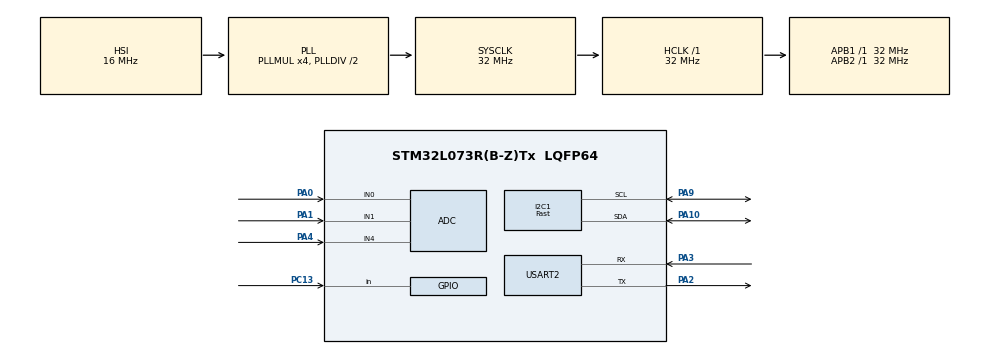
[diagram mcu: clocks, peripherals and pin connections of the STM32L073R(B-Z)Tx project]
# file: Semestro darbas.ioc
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ADC.ContinuousConvMode=ENABLE
ADC.DMAContinuousRequests=DISABLE
ADC.SamplingTime=ADC_SAMPLETIME_1CYCLE_5
Dma.ADC.0.Direction=DMA_PERIPH_TO_MEMORY
Dma.ADC.0.Instance=DMA1_Channel1
Dma.ADC.0.MemDataAlignment=DMA_MDATAALIGN_HALFWORD
Dma.ADC.0.MemInc=DMA_MINC_ENABLE
Dma.ADC.0.Mode=DMA_CIRCULAR
Dma.ADC.0.PeriphDataAlignment=DMA_PDATAALIGN_HALFWORD
Dma.ADC.0.PeriphInc=DMA_PINC_DISABLE
Dma.ADC.0.Priority=DMA_PRIORITY_LOW
Dma.Request0=ADC
I2C1.I2C_Speed_Mode=I2C_Fast
I2C1.Timing=0x00300F38
Mcu.Family=STM32L0
Mcu.Name=STM32L073R(B-Z)Tx
Mcu.Package=LQFP64
NVIC.ADC1_COMP_IRQn=true\:1\:0\:true\:false\:true\:true\:true\:true
NVIC.DMA1_Channel1_IRQn=true\:0\:0\:false\:false\:true\:false\:true\:true
NVIC.TIM6_DAC_IRQn=true\:0\:0\:false\:false\:true\:true\:true\:true
PA0.Mode=IN0
PA0.Signal=ADC_IN0
PA1.Mode=IN1
PA1.Signal=ADC_IN1
PA10.Mode=I2C
PA10.Signal=I2C1_SDA
PA2.Mode=Asynchronous
PA2.Signal=USART2_TX
PA3.Mode=Asynchronous
PA3.Signal=USART2_RX
PA4.Mode=IN4
PA4.Signal=ADC_IN4
PA9.Mode=I2C
PA9.Signal=I2C1_SCL
PC13.Signal=GPIO_Input
ProjectManager.HeapSize=0x200
ProjectManager.StackSize=0x400
ProjectManager.TargetToolchain=STM32CubeIDE
RCC.AHBFreq_Value=32000000
RCC.APB1Freq_Value=32000000
RCC.APB1TimFreq_Value=32000000
RCC.APB2Freq_Value=32000000
RCC.APB2TimFreq_Value=32000000
RCC.HCLKFreq_Value=32000000
RCC.HSE_VALUE=8000000
RCC.HSI16_VALUE=16000000
RCC.HSI48_VALUE=48000000
RCC.HSI_VALUE=16000000
RCC.LSE_VALUE=32768
RCC.MSI_VALUE=2097000
RCC.PLLMUL=RCC_PLLMUL_4
RCC.SYSCLKFreq_VALUE=32000000
RCC.SYSCLKSource=RCC_SYSCLKSOURCE_PLLCLK
RCC.VCOOutputFreq_Value=64000000
TIM6.Period=160
TIM6.Prescaler=40000
USART2.VirtualMode-Asynchronous=VM_ASYNC
VP_TIM6_VS_ClockSourceINT.Mode=Enable_Timer
board=custom

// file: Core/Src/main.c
/* USER CODE BEGIN Header */
/**
  ******************************************************************************
  * @file           : main.c
  * @brief          : Main program body
  ******************************************************************************
  * @attention
  *
  * Copyright (c) 2024 STMicroelectronics.
  * All rights reserved.
  *
  * This software is licensed under terms that can be found in the LICENSE file
  * in the root directory of this software component.
  * If no LICENSE file comes with this software, it is provided AS-IS.
  *
  ******************************************************************************
  */
/* USER CODE END Header */
#include "main.h"

/* USER CODE BEGIN Includes */
#include <stdio.h>
#include <string.h>
#include <math.h>
#include "fonts.h"
#include "ssd1306.h"
#include "stm32l0xx_hal.h"
/* USER CODE END Includes */

/* USER CODE BEGIN PTD */
#define BUTTON GPIO_PIN_13
#define BUTTON_GPIO_Port GPIOC

/* USER CODE END PTD */

ADC_HandleTypeDef hadc;
DMA_HandleTypeDef hdma_adc;

I2C_HandleTypeDef hi2c1;

TIM_HandleTypeDef htim6;

UART_HandleTypeDef huart2;

/* USER CODE BEGIN PV */
//#define Samples 100
int Samples = 10;

volatile uint8_t uart_data_ready = 0;

uint16_t adc_values[3]; //Dvieju LDR ADC vertės ir Mikrafono ADC
float lux1, lux2; 		// Kiekvieno kanalo ver ?ių kintamieji
float min_lux = 100000; // Initialize with maximum float value
float max_lux = -100000; // Initialize with minimum float value
float vid = 0.0; 		// Initialize range variable
float RMS; 				// Mikrofono signalas
char msg[100];			// Kompiuteriui isvedama žinutė
float dB;

uint32_t lux_reset_time = 0; // Timer to reset min/max values periodically
uint32_t lux_reset_interval = 120; // Reset interval in milliseconds

uint32_t up_time2 = 0; // Kintamasis OLED LUX atnaujimui 2s
uint32_t up_time1 = 0;  // Kintamasis OLED RMS atnaujinimui 1s

uint8_t flag1,flag2; //flags oled display update time
uint8_t display_mode = 0; // atvaizduoti LUX ir RMS paspaudus mygtuka
uint32_t last_button_press_time = 0; // Variable to track the time of the last button press

float convertToLux(uint16_t adc_value); //Konvertuoti 0-1 kanalo ADC vertę foto varzai 1
float convertRMS(uint16_t adc_value, int Sample); // Kovertuoti 2 kanalo ADC mikrafono verte i RMS

/* USER CODE END PV */

void SystemClock_Config(void);
static void MX_GPIO_Init(void);
static void MX_DMA_Init(void);
static void MX_ADC_Init(void);
static void MX_USART2_UART_Init(void);
static void MX_I2C1_Init(void);
static void MX_TIM6_Init(void);

int main(void)
{

  /* MCU Configuration--------------------------------------------------------*/

  /* Reset of all peripherals, Initializes the Flash interface and the Systick. */
  HAL_Init();

  /* Configure the system clock */
  SystemClock_Config();

  /* Initialize all configured peripherals */
  MX_GPIO_Init();
  MX_DMA_Init();
  MX_ADC_Init();
  MX_USART2_UART_Init();
  MX_I2C1_Init();
  MX_TIM6_Init();
  /* USER CODE BEGIN 2 */

  // Start timer with interrupt
  HAL_TIM_Base_Start_IT(&htim6);

  // OLED initialization
  SSD1306_Init();
  // Clear OLED
  SSD1306_Fill(SSD1306_COLOR_BLACK);

  // Display some text on the screen
  //SSD1306_GotoXY(0,20);
  //SSD1306_Puts("Hello, OLED!", &Font_11x18, SSD1306_COLOR_WHITE);
  //SSD1306_UpdateScreen();

  /* USER CODE END 2 */

  /* Infinite loop */
  /* USER CODE BEGIN WHILE */
  while (1)
  {
	  // Start ADC nuskaitymus
	  HAL_ADC_Start_DMA(&hadc, (uint32_t *)adc_values, 3);

      // ADC verciu konvertavimas
      lux1 = convertToLux(adc_values[0]);
      lux2 = convertToLux(adc_values[1]);
      RMS = convertRMS(adc_values[2], Samples);

      // Reset minimum and maximum lux values periodically
       if (HAL_GetTick() - lux_reset_time >= lux_reset_interval) {
           min_lux = 100000;
           max_lux = -100000;
           lux_reset_time = HAL_GetTick();
       }

      if (lux1 < min_lux)
          min_lux = lux1;
      else if (lux1 <= 1)
    	  min_lux = 1;

      if (lux1 > max_lux)
          max_lux = lux1;
      else if (lux1 > 5)
    	  max_lux = 5;

      if (lux2 < min_lux)
          min_lux = lux2;
      else if (lux2 <= 1)
    	  min_lux = 1;

      if (lux2 > max_lux)
          max_lux = lux2;
      else if (lux2 > 5)
          max_lux = 5;

          // Vidurkis
          vid = (lux1+lux2)/2;

	  // UART siuntimas i kompiuteri
      if (uart_data_ready)
          {
              sprintf(msg, "LDR ADC: %d, %d | Lux: %.2f, %.2f |MIN: %.2f, MAX: %.2f, Vidurkis: %.2f |\r\n"
            		  "MIC ADC: %d | RMS: %.2f\r\n",adc_values[0], adc_values[1],lux1,lux2,min_lux,max_lux,vid,adc_values[2],RMS);
    	  	  //sprintf(msg, "Oras ADC: %d | PPM: %.0f \r\nDregme ADC: %d | Dregme %: %.0f \r\n", adc_values[0], oras, adc_values[1], dregme);
              // UART transmission
              HAL_UART_Transmit(&huart2, (uint8_t *)msg, strlen(msg), HAL_MAX_DELAY);

              flag1++;
              flag2++;
              uart_data_ready = 0; // Reset flag

          }

      if (flag1>=4)
      	flag1=0;
      if (flag2>=8)
      	flag2=0;

	    // Mygtuko paspaudimas
	    ToggleDisplay();
	    //OLED LUX ir RMS su mygtuku
	    DisplayOLED();

	    //OLED
	   /* if (HAL_GetTick() - lux_update_time >= 2000)
	        {
	          lux_update_time = HAL_GetTick();

	          // Clear the OLED screen
	          SSD1306_Fill(SSD1306_COLOR_BLACK);

	          // Display LUX1 and LUX2 values on the OLED screen
	          char lux1_str[20];
	          char lux2_str[20];
	          snprintf(lux1_str, sizeof(lux1_str), "%.2f", lux1);
	          snprintf(lux2_str, sizeof(lux2_str), "%.2f", lux2);

	          // Display LUX1 and LUX2 values on the OLED screen
	          SSD1306_GotoXY(0, 0);
	          SSD1306_Puts("LUX1: ", &Font_11x18, SSD1306_COLOR_WHITE);
	          SSD1306_Puts(lux1_str, &Font_11x18, SSD1306_COLOR_WHITE);
	          SSD1306_GotoXY(0, 20);
	          SSD1306_Puts("LUX2: ", &Font_11x18, SSD1306_COLOR_WHITE);
	          SSD1306_Puts(lux2_str, &Font_11x18, SSD1306_COLOR_WHITE);

	          // Update the OLED screen
	          SSD1306_UpdateScreen();
	        }*/

    /* USER CODE END WHILE */

  }
}

void SystemClock_Config(void)
{
  RCC_OscInitTypeDef RCC_OscInitStruct = {0};
  RCC_ClkInitTypeDef RCC_ClkInitStruct = {0};
  RCC_PeriphCLKInitTypeDef PeriphClkInit = {0};

  /** Configure the main internal regulator output voltage
  */
  __HAL_PWR_VOLTAGESCALING_CONFIG(PWR_REGULATOR_VOLTAGE_SCALE1);

  /** Initializes the RCC Oscillators according to the specified parameters
  * in the RCC_OscInitTypeDef structure.
  */
  RCC_OscInitStruct.OscillatorType = RCC_OSCILLATORTYPE_HSI;
  RCC_OscInitStruct.HSIState = RCC_HSI_ON;
  RCC_OscInitStruct.HSICalibrationValue = RCC_HSICALIBRATION_DEFAULT;
  RCC_OscInitStruct.PLL.PLLState = RCC_PLL_ON;
  RCC_OscInitStruct.PLL.PLLSource = RCC_PLLSOURCE_HSI;
  RCC_OscInitStruct.PLL.PLLMUL = RCC_PLLMUL_4;
  RCC_OscInitStruct.PLL.PLLDIV = RCC_PLLDIV_2;
  if (HAL_RCC_OscConfig(&RCC_OscInitStruct) != HAL_OK)
  {
    Error_Handler();
  }

  /** Initializes the CPU, AHB and APB buses clocks
  */
  RCC_ClkInitStruct.ClockType = RCC_CLOCKTYPE_HCLK|RCC_CLOCKTYPE_SYSCLK
                              |RCC_CLOCKTYPE_PCLK1|RCC_CLOCKTYPE_PCLK2;
  RCC_ClkInitStruct.SYSCLKSource = RCC_SYSCLKSOURCE_PLLCLK;
  RCC_ClkInitStruct.AHBCLKDivider = RCC_SYSCLK_DIV1;
  RCC_ClkInitStruct.APB1CLKDivider = RCC_HCLK_DIV1;
  RCC_ClkInitStruct.APB2CLKDivider = RCC_HCLK_DIV1;

  if (HAL_RCC_ClockConfig(&RCC_ClkInitStruct, FLASH_LATENCY_1) != HAL_OK)
  {
    Error_Handler();
  }
  PeriphClkInit.PeriphClockSelection = RCC_PERIPHCLK_USART2|RCC_PERIPHCLK_I2C1;
  PeriphClkInit.Usart2ClockSelection = RCC_USART2CLKSOURCE_PCLK1;
  PeriphClkInit.I2c1ClockSelection = RCC_I2C1CLKSOURCE_PCLK1;
  if (HAL_RCCEx_PeriphCLKConfig(&PeriphClkInit) != HAL_OK)
  {
    Error_Handler();
  }
}

static void MX_ADC_Init(void)
{

  ADC_ChannelConfTypeDef sConfig = {0};

  /** Configure the global features of the ADC (Clock, Resolution, Data Alignment and number of conversion)
  */
  hadc.Instance = ADC1;
  hadc.Init.OversamplingMode = DISABLE;
  hadc.Init.ClockPrescaler = ADC_CLOCK_SYNC_PCLK_DIV2;
  hadc.Init.Resolution = ADC_RESOLUTION_12B;
  hadc.Init.SamplingTime = ADC_SAMPLETIME_1CYCLE_5;
  hadc.Init.ScanConvMode = ADC_SCAN_DIRECTION_FORWARD;
  hadc.Init.DataAlign = ADC_DATAALIGN_RIGHT;
  hadc.Init.ContinuousConvMode = ENABLE;
  hadc.Init.DiscontinuousConvMode = DISABLE;
  hadc.Init.ExternalTrigConvEdge = ADC_EXTERNALTRIGCONVEDGE_NONE;
  hadc.Init.ExternalTrigConv = ADC_SOFTWARE_START;
  hadc.Init.DMAContinuousRequests = DISABLE;
  hadc.Init.EOCSelection = ADC_EOC_SINGLE_CONV;
  hadc.Init.Overrun = ADC_OVR_DATA_PRESERVED;
  hadc.Init.LowPowerAutoWait = DISABLE;
  hadc.Init.LowPowerFrequencyMode = DISABLE;
  hadc.Init.LowPowerAutoPowerOff = DISABLE;
  if (HAL_ADC_Init(&hadc) != HAL_OK)
  {
    Error_Handler();
  }

  /** Configure for the selected ADC regular channel to be converted.
  */
  sConfig.Channel = ADC_CHANNEL_0;
  sConfig.Rank = ADC_RANK_CHANNEL_NUMBER;
  if (HAL_ADC_ConfigChannel(&hadc, &sConfig) != HAL_OK)
  {
    Error_Handler();
  }

  /** Configure for the selected ADC regular channel to be converted.
  */
  sConfig.Channel = ADC_CHANNEL_1;
  if (HAL_ADC_ConfigChannel(&hadc, &sConfig) != HAL_OK)
  {
    Error_Handler();
  }

  /** Configure for the selected ADC regular channel to be converted.
  */
  sConfig.Channel = ADC_CHANNEL_4;
  if (HAL_ADC_ConfigChannel(&hadc, &sConfig) != HAL_OK)
  {
    Error_Handler();
  }

}

static void MX_I2C1_Init(void)
{

  hi2c1.Instance = I2C1;
  hi2c1.Init.Timing = 0x00300F38;
  hi2c1.Init.OwnAddress1 = 0;
  hi2c1.Init.AddressingMode = I2C_ADDRESSINGMODE_7BIT;
  hi2c1.Init.DualAddressMode = I2C_DUALADDRESS_DISABLE;
  hi2c1.Init.OwnAddress2 = 0;
  hi2c1.Init.OwnAddress2Masks = I2C_OA2_NOMASK;
  hi2c1.Init.GeneralCallMode = I2C_GENERALCALL_DISABLE;
  hi2c1.Init.NoStretchMode = I2C_NOSTRETCH_DISABLE;
  if (HAL_I2C_Init(&hi2c1) != HAL_OK)
  {
    Error_Handler();
  }

  /** Configure Analogue filter
  */
  if (HAL_I2CEx_ConfigAnalogFilter(&hi2c1, I2C_ANALOGFILTER_ENABLE) != HAL_OK)
  {
    Error_Handler();
  }

  /** Configure Digital filter
  */
  if (HAL_I2CEx_ConfigDigitalFilter(&hi2c1, 0) != HAL_OK)
  {
    Error_Handler();
  }

}

static void MX_TIM6_Init(void)
{

  TIM_MasterConfigTypeDef sMasterConfig = {0};

  htim6.Instance = TIM6;
  htim6.Init.Prescaler = 40000;
  htim6.Init.CounterMode = TIM_COUNTERMODE_UP;
  htim6.Init.Period = 160;
  htim6.Init.AutoReloadPreload = TIM_AUTORELOAD_PRELOAD_DISABLE;
  if (HAL_TIM_Base_Init(&htim6) != HAL_OK)
  {
    Error_Handler();
  }
  sMasterConfig.MasterOutputTrigger = TIM_TRGO_RESET;
  sMasterConfig.MasterSlaveMode = TIM_MASTERSLAVEMODE_DISABLE;
  if (HAL_TIMEx_MasterConfigSynchronization(&htim6, &sMasterConfig) != HAL_OK)
  {
    Error_Handler();
  }

}

static void MX_USART2_UART_Init(void)
{

  huart2.Instance = USART2;
  huart2.Init.BaudRate = 115200;
  huart2.Init.WordLength = UART_WORDLENGTH_8B;
  huart2.Init.StopBits = UART_STOPBITS_1;
  huart2.Init.Parity = UART_PARITY_NONE;
  huart2.Init.Mode = UART_MODE_TX_RX;
  huart2.Init.HwFlowCtl = UART_HWCONTROL_NONE;
  huart2.Init.OverSampling = UART_OVERSAMPLING_16;
  huart2.Init.OneBitSampling = UART_ONE_BIT_SAMPLE_DISABLE;
  huart2.AdvancedInit.AdvFeatureInit = UART_ADVFEATURE_NO_INIT;
  if (HAL_UART_Init(&huart2) != HAL_OK)
  {
    Error_Handler();
  }

}

static void MX_DMA_Init(void)
{

  /* DMA controller clock enable */
  __HAL_RCC_DMA1_CLK_ENABLE();

  /* DMA interrupt init */
  /* DMA1_Channel1_IRQn interrupt configuration */
  HAL_NVIC_SetPriority(DMA1_Channel1_IRQn, 0, 0);
  HAL_NVIC_EnableIRQ(DMA1_Channel1_IRQn);

}

static void MX_GPIO_Init(void)
{
  GPIO_InitTypeDef GPIO_InitStruct = {0};

  /* GPIO Ports Clock Enable */
  __HAL_RCC_GPIOC_CLK_ENABLE();
  __HAL_RCC_GPIOA_CLK_ENABLE();

  /*Configure GPIO pin : PC13 */
  GPIO_InitStruct.Pin = GPIO_PIN_13;
  GPIO_InitStruct.Mode = GPIO_MODE_INPUT;
  GPIO_InitStruct.Pull = GPIO_NOPULL;
  HAL_GPIO_Init(GPIOC, &GPIO_InitStruct);

}

/* USER CODE BEGIN 4 */
// UART transmission complete callback
void HAL_TIM_PeriodElapsedCallback(TIM_HandleTypeDef *htim)
{
    if (htim == &htim6)
    {
        uart_data_ready = 1; // Set flag to indicate data is ready to be sent
    }
}

void ToggleDisplay()
{
	static uint8_t button_state = GPIO_PIN_SET; // Kintamasis tikrina paskutinę būseną

	    // Skaityti dabartinę mygtuko būseną
	    uint8_t current_state = HAL_GPIO_ReadPin(GPIOC, GPIO_PIN_13);

	    // Tikrina ar 'buton state' pasikeitė nuo atleidimo iki įspausto
	    if (button_state == GPIO_PIN_SET && current_state == GPIO_PIN_RESET &&
	        HAL_GetTick() - last_button_press_time >= 50) {
	        // Toggle display mode
	        display_mode = (display_mode == 0) ? 1 : 0;
	        //display_mode != display_mode;

	        // Naujinti paskutini paspaudimo laiką
	        last_button_press_time = HAL_GetTick();
	    }

	    // Atnaujinit 'buton state' kitai iteracijai
	    button_state = current_state;
}

void DisplayOLED(void) //OLED atvaizdavimas
{
	// LUX atvaizdavimas
    if (display_mode == 0 && HAL_GetTick() - up_time2 >= 2000)
    {

        SSD1306_Fill(SSD1306_COLOR_BLACK); // Clear OLED

        char lux_str[20];
        char min_str[20];
        char max_str[20];
        snprintf(lux_str, sizeof(lux_str), "%.2f", vid);
        snprintf(min_str, sizeof(min_str), "%.2f", min_lux);
        snprintf(max_str, sizeof(max_str), "%.2f", max_lux);

        SSD1306_GotoXY(0, 0);
        SSD1306_Puts("VID: ", &Font_11x18, SSD1306_COLOR_WHITE);
        SSD1306_Puts(lux_str, &Font_11x18, SSD1306_COLOR_WHITE);
        SSD1306_GotoXY(0, 20);
        SSD1306_Puts("MIN: ", &Font_11x18, SSD1306_COLOR_WHITE);
        SSD1306_Puts(min_str, &Font_11x18, SSD1306_COLOR_WHITE);
        SSD1306_GotoXY(0, 40);
        SSD1306_Puts("MAX: ", &Font_11x18, SSD1306_COLOR_WHITE);
        SSD1306_Puts(max_str, &Font_11x18, SSD1306_COLOR_WHITE);

        SSD1306_UpdateScreen();

        up_time2 = HAL_GetTick();

    }
    // RMS atvaizdavimas
    else if (display_mode == 1 && HAL_GetTick() - up_time1 >= 1000)
    {

        SSD1306_Fill(SSD1306_COLOR_BLACK); // Clear OLED

        char rms_str[20];
        snprintf(rms_str, sizeof(rms_str), "%.2f", RMS);

        SSD1306_GotoXY(0, 20);
        SSD1306_Puts("RMS: ", &Font_11x18, SSD1306_COLOR_WHITE);
        SSD1306_Puts(rms_str, &Font_11x18, SSD1306_COLOR_WHITE);

        SSD1306_UpdateScreen();

        up_time1 = HAL_GetTick();
    }
}

/*
void DisplayOLED(void) //OLED atvaizdavimas
{
    if (display_mode == 0 && flag2==0)
    {

    	//up_time2 = HAL_GetTick();

        SSD1306_Fill(SSD1306_COLOR_BLACK); // Clear OLED

        char lux_str[20];
        char min_str[20];
        char max_str[20];
        snprintf(lux_str, sizeof(lux_str), "%.2f", vid);
        snprintf(min_str, sizeof(min_str), "%.2f", min_lux);
        snprintf(max_str, sizeof(max_str), "%.2f", max_lux);

        SSD1306_GotoXY(0, 0);
        SSD1306_Puts("VID: ", &Font_11x18, SSD1306_COLOR_WHITE);
        SSD1306_Puts(lux_str, &Font_11x18, SSD1306_COLOR_WHITE);
        SSD1306_GotoXY(0, 20);
        SSD1306_Puts("MIN: ", &Font_11x18, SSD1306_COLOR_WHITE);
        SSD1306_Puts(min_str, &Font_11x18, SSD1306_COLOR_WHITE);
        SSD1306_GotoXY(0, 40);
        SSD1306_Puts("MAX: ", &Font_11x18, SSD1306_COLOR_WHITE);
        SSD1306_Puts(max_str, &Font_11x18, SSD1306_COLOR_WHITE);

        SSD1306_UpdateScreen();

    }
    else if (display_mode == 1 && flag1==0)
    {
        //up_time1 = HAL_GetTick();

        SSD1306_Fill(SSD1306_COLOR_BLACK); // Clear OLED

        char rms_str[20];
        snprintf(rms_str, sizeof(rms_str), "%.2f", RMS);

        SSD1306_GotoXY(0, 20);
        SSD1306_Puts("RMS: ", &Font_11x18, SSD1306_COLOR_WHITE);
        SSD1306_Puts(rms_str, &Font_11x18, SSD1306_COLOR_WHITE);

        SSD1306_UpdateScreen();
    }
}*/

/* Funkcija konvertuoti ADC vertes į
 * tikrąsias apšvietimo vertes */

float convertToLux(uint16_t adc_value) {

	float voltage = (adc_value / 4095.0) * 3.3; // Konvertuoti ASK vertę į įtampą, prie Vref-3v3, 12bit
	float r_ldr = (5000.0 * voltage) / (3.3 - voltage); // KOnvertuoti foto varzos vertę pagal įtampos daliklio formulę
	float r10 = 7500.0; // didžiausia foto varžos vertė  Resistance of LDR at 10 lux (from datasheet)
	float y = 0.6; // Gamma charakteristika Gamma characteristic (from datasheet)
	float lux_value = pow(10, y * log10(r_ldr / r10)); // Apskaiciuoja Lux vertę pagal gamma charakteristika (datasheet)
	return lux_value;

}

float convertRMS(uint16_t adc_value, int Samples)
{
	float sum_square = 0.0;

	 // Kvadratinamos vertes
	    for (int i = 0; i < Samples; i++) {
	        float voltage = adc_values[2] * 3.3 / 4096; // paverčiama į įtampą
	        float voltage_squared = voltage * voltage;
	        sum_square += voltage_squared;
	    }

	// Vidurkinam
	float mean_square = sum_square / Samples;

	return RMS= sqrt(mean_square);
}

/* USER CODE END 4 */

void Error_Handler(void)
{
  __disable_irq();
  while (1)
  {
  }
}
